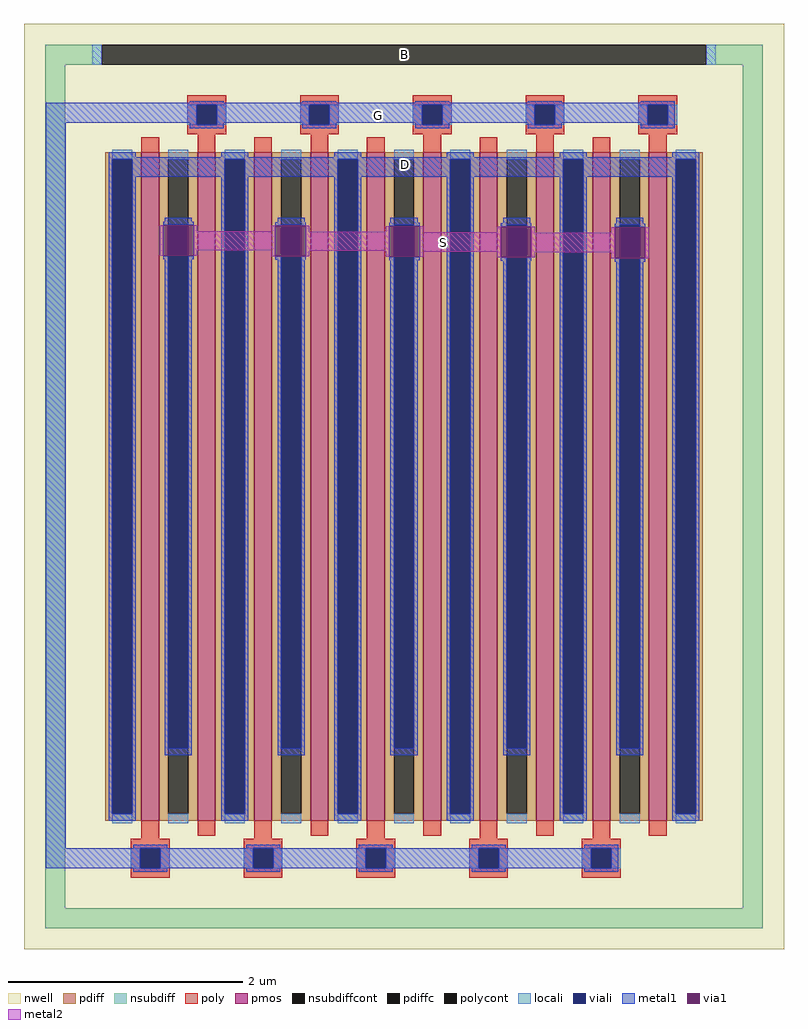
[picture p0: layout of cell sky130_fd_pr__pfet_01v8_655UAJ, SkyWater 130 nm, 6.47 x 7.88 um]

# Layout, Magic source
magic
tech sky130A
magscale 1 2
<< nwell >>
rect -647 -788 647 788
<< pmos >>
rect -447 -569 -417 569
rect -351 -569 -321 569
rect -255 -569 -225 569
rect -159 -569 -129 569
rect -63 -569 -33 569
rect 33 -569 63 569
rect 129 -569 159 569
rect 225 -569 255 569
rect 321 -569 351 569
rect 417 -569 447 569
<< pdiff >>
rect -509 557 -447 569
rect -509 -557 -497 557
rect -463 -557 -447 557
rect -509 -569 -447 -557
rect -417 557 -351 569
rect -417 -557 -401 557
rect -367 -557 -351 557
rect -417 -569 -351 -557
rect -321 557 -255 569
rect -321 -557 -305 557
rect -271 -557 -255 557
rect -321 -569 -255 -557
rect -225 557 -159 569
rect -225 -557 -209 557
rect -175 -557 -159 557
rect -225 -569 -159 -557
rect -129 557 -63 569
rect -129 -557 -113 557
rect -79 -557 -63 557
rect -129 -569 -63 -557
rect -33 557 33 569
rect -33 -557 -17 557
rect 17 -557 33 557
rect -33 -569 33 -557
rect 63 557 129 569
rect 63 -557 79 557
rect 113 -557 129 557
rect 63 -569 129 -557
rect 159 557 225 569
rect 159 -557 175 557
rect 209 -557 225 557
rect 159 -569 225 -557
rect 255 557 321 569
rect 255 -557 271 557
rect 305 -557 321 557
rect 255 -569 321 -557
rect 351 557 417 569
rect 351 -557 367 557
rect 401 -557 417 557
rect 351 -569 417 -557
rect 447 557 509 569
rect 447 -557 463 557
rect 497 -557 509 557
rect 447 -569 509 -557
<< pdiffc >>
rect -497 -557 -463 557
rect -401 -557 -367 557
rect -305 -557 -271 557
rect -209 -557 -175 557
rect -113 -557 -79 557
rect -17 -557 17 557
rect 79 -557 113 557
rect 175 -557 209 557
rect 271 -557 305 557
rect 367 -557 401 557
rect 463 -557 497 557
<< nsubdiff >>
rect -611 718 -515 752
rect 515 718 611 752
rect -611 -718 -577 718
rect 577 -718 611 718
rect -611 -752 611 -718
<< nsubdiffcont >>
rect -515 718 515 752
<< poly >>
rect -369 650 -303 666
rect -369 616 -353 650
rect -319 616 -303 650
rect -369 600 -303 616
rect -177 650 -111 666
rect -177 616 -161 650
rect -127 616 -111 650
rect -177 600 -111 616
rect 15 650 81 666
rect 15 616 31 650
rect 65 616 81 650
rect 15 600 81 616
rect 207 650 273 666
rect 207 616 223 650
rect 257 616 273 650
rect 207 600 273 616
rect 399 650 465 666
rect 399 616 415 650
rect 449 616 465 650
rect 399 600 465 616
rect -447 569 -417 595
rect -351 569 -321 600
rect -255 569 -225 595
rect -159 569 -129 600
rect -63 569 -33 595
rect 33 569 63 600
rect 129 569 159 595
rect 225 569 255 600
rect 321 569 351 595
rect 417 569 447 600
rect -447 -600 -417 -569
rect -351 -595 -321 -569
rect -255 -600 -225 -569
rect -159 -595 -129 -569
rect -63 -600 -33 -569
rect 33 -595 63 -569
rect 129 -600 159 -569
rect 225 -595 255 -569
rect 321 -600 351 -569
rect 417 -595 447 -569
rect -465 -616 -399 -600
rect -465 -650 -449 -616
rect -415 -650 -399 -616
rect -465 -666 -399 -650
rect -273 -616 -207 -600
rect -273 -650 -257 -616
rect -223 -650 -207 -616
rect -273 -666 -207 -650
rect -81 -616 -15 -600
rect -81 -650 -65 -616
rect -31 -650 -15 -616
rect -81 -666 -15 -650
rect 111 -616 177 -600
rect 111 -650 127 -616
rect 161 -650 177 -616
rect 111 -666 177 -650
rect 303 -616 369 -600
rect 303 -650 319 -616
rect 353 -650 369 -616
rect 303 -666 369 -650
<< polycont >>
rect -353 616 -319 650
rect -161 616 -127 650
rect 31 616 65 650
rect 223 616 257 650
rect 415 616 449 650
rect -449 -650 -415 -616
rect -257 -650 -223 -616
rect -65 -650 -31 -616
rect 127 -650 161 -616
rect 319 -650 353 -616
<< locali >>
rect -531 718 -515 752
rect 515 718 531 752
rect -369 616 -353 650
rect -319 616 -303 650
rect -177 616 -161 650
rect -127 616 -111 650
rect 15 616 31 650
rect 65 616 81 650
rect 207 616 223 650
rect 257 616 273 650
rect 399 616 415 650
rect 449 616 465 650
rect -497 557 -463 573
rect -497 -573 -463 -557
rect -401 557 -367 573
rect -401 -573 -367 -557
rect -305 557 -271 573
rect -305 -573 -271 -557
rect -209 557 -175 573
rect -209 -573 -175 -557
rect -113 557 -79 573
rect -113 -573 -79 -557
rect -17 557 17 573
rect -17 -573 17 -557
rect 79 557 113 573
rect 79 -573 113 -557
rect 175 557 209 573
rect 175 -573 209 -557
rect 271 557 305 573
rect 271 -573 305 -557
rect 367 557 401 573
rect 367 -573 401 -557
rect 463 557 497 573
rect 463 -573 497 -557
rect -465 -650 -449 -616
rect -415 -650 -399 -616
rect -273 -650 -257 -616
rect -223 -650 -207 -616
rect -81 -650 -65 -616
rect -31 -650 -15 -616
rect 111 -650 127 -616
rect 161 -650 177 -616
rect 303 -650 319 -616
rect 353 -650 369 -616
<< viali >>
rect -353 616 -319 650
rect -161 616 -127 650
rect 31 616 65 650
rect 223 616 257 650
rect 415 616 449 650
rect -497 -557 -463 557
rect -401 -446 -367 446
rect -305 -557 -271 557
rect -209 -446 -175 446
rect -113 -557 -79 557
rect -17 -446 17 446
rect 79 -557 113 557
rect 175 -446 209 446
rect 271 -557 305 557
rect 367 -446 401 446
rect 463 -557 497 557
rect -449 -650 -415 -616
rect -257 -650 -223 -616
rect -65 -650 -31 -616
rect 127 -650 161 -616
rect 319 -650 353 -616
<< metal1 >>
rect -365 653 -307 656
rect -173 653 -115 656
rect 19 653 77 656
rect 211 653 269 656
rect 403 653 461 656
rect -610 650 461 653
rect -610 619 -353 650
rect -610 -616 -576 619
rect -365 616 -353 619
rect -319 619 -161 650
rect -319 616 -307 619
rect -365 610 -307 616
rect -173 616 -161 619
rect -127 619 31 650
rect -127 616 -115 619
rect -173 610 -115 616
rect 19 616 31 619
rect 65 619 223 650
rect 65 616 77 619
rect 19 610 77 616
rect 211 616 223 619
rect 257 619 415 650
rect 257 616 269 619
rect 211 610 269 616
rect 403 616 415 619
rect 449 616 461 650
rect 403 610 461 616
rect -503 561 -457 569
rect -311 561 -265 569
rect -119 561 -73 569
rect 73 561 119 569
rect 265 561 311 569
rect 457 561 503 569
rect -503 557 503 561
rect -503 -557 -497 557
rect -463 527 -305 557
rect -463 -557 -457 527
rect -407 451 -361 458
rect -410 446 -358 451
rect -410 445 -401 446
rect -367 445 -358 446
rect -410 387 -401 393
rect -407 -446 -401 387
rect -367 387 -358 393
rect -367 -446 -361 387
rect -407 -458 -361 -446
rect -503 -569 -457 -557
rect -311 -557 -305 527
rect -271 527 -113 557
rect -271 -557 -265 527
rect -215 450 -169 458
rect -219 446 -167 450
rect -219 444 -209 446
rect -175 444 -167 446
rect -219 386 -209 392
rect -215 -446 -209 386
rect -175 386 -167 392
rect -175 -446 -169 386
rect -215 -458 -169 -446
rect -311 -569 -265 -557
rect -119 -557 -113 527
rect -79 527 79 557
rect -79 -557 -73 527
rect -23 449 23 458
rect -25 446 27 449
rect -25 443 -17 446
rect 17 443 27 446
rect -25 385 -17 391
rect -23 -446 -17 385
rect 17 385 27 391
rect 17 -446 23 385
rect -23 -458 23 -446
rect -119 -569 -73 -557
rect 73 -557 79 527
rect 113 527 271 557
rect 113 -557 119 527
rect 169 448 215 458
rect 165 446 217 448
rect 165 442 175 446
rect 209 442 217 446
rect 165 384 175 390
rect 169 -446 175 384
rect 209 384 217 390
rect 209 -446 215 384
rect 169 -458 215 -446
rect 73 -569 119 -557
rect 265 -557 271 527
rect 305 527 463 557
rect 305 -557 311 527
rect 361 447 407 458
rect 359 446 411 447
rect 359 441 367 446
rect 401 441 411 446
rect 359 383 367 389
rect 361 -446 367 383
rect 401 383 411 389
rect 401 -446 407 383
rect 361 -458 407 -446
rect 265 -569 311 -557
rect 457 -557 463 527
rect 497 -557 503 557
rect 457 -569 503 -557
rect -461 -616 -403 -610
rect -269 -616 -211 -610
rect -77 -616 -19 -610
rect 115 -616 173 -610
rect 307 -616 365 -610
rect -610 -650 -449 -616
rect -415 -650 -257 -616
rect -223 -650 -65 -616
rect -31 -650 127 -616
rect 161 -650 319 -616
rect 353 -650 365 -616
rect -461 -656 -403 -650
rect -269 -656 -211 -650
rect -77 -656 -19 -650
rect 115 -656 173 -650
rect 307 -656 365 -650
<< via1 >>
rect -410 393 -401 445
rect -401 393 -367 445
rect -367 393 -358 445
rect -219 392 -209 444
rect -209 392 -175 444
rect -175 392 -167 444
rect -25 391 -17 443
rect -17 391 17 443
rect 17 391 27 443
rect 165 390 175 442
rect 175 390 209 442
rect 209 390 217 442
rect 359 389 367 441
rect 367 389 401 441
rect 401 389 411 441
<< metal2 >>
rect -416 393 -410 445
rect -358 435 -352 445
rect -225 435 -219 444
rect -358 402 -219 435
rect -358 393 -352 402
rect -225 392 -219 402
rect -167 434 -161 444
rect -31 434 -25 443
rect -167 401 -25 434
rect -167 392 -161 401
rect -31 391 -25 401
rect 27 433 33 443
rect 159 433 165 442
rect 27 400 165 433
rect 27 391 33 400
rect 159 390 165 400
rect 217 432 223 442
rect 353 432 359 441
rect 217 399 359 432
rect 217 390 223 399
rect 353 389 359 399
rect 411 389 417 441
<< labels >>
flabel metal1 s 2 549 2 549 0 FreeSans 480 0 0 0 D
port 0 nsew
flabel metal2 s 68 416 68 416 0 FreeSans 480 0 0 0 S
port 1 nsew
flabel metal1 s -44 632 -44 632 0 FreeSans 480 0 0 0 G
port 2 nsew
flabel locali s 0 736 0 736 0 FreeSans 480 0 0 0 B
port 3 nsew
<< properties >>
string FIXED_BBOX -594 -735 594 735
string gencell sky130_fd_pr__pfet_01v8
string library sky130
string parameters w 5.69 l 0.15 m 1 nf 10 diffcov 100 polycov 100 guard 1 glc 0 grc 0 gtc 1 gbc 0 tbcov 100 rlcov 100 topc 0 botc 1 poverlap 0 doverlap 1 lmin 0.15 wmin 0.42 compatible {sky130_fd_pr__pfet_01v8  sky130_fd_pr__pfet_01v8_lvt sky130_fd_pr__pfet_01v8_hvt  sky130_fd_pr__pfet_g5v0d10v5} full_metal 0 viasrc 80 viadrn 100 viagate 100 viagb 0 viagr 0 viagl 0 viagt 0
<< end >>
